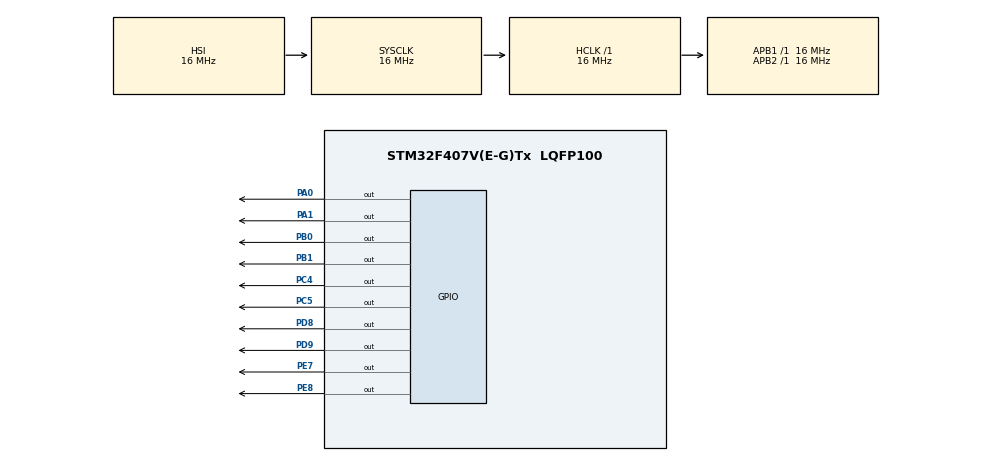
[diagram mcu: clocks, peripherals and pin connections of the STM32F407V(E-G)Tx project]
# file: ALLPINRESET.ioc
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Mcu.Family=STM32F4
Mcu.Name=STM32F407V(E-G)Tx
Mcu.Package=LQFP100
NVIC.PriorityGroup=NVIC_PRIORITYGROUP_4
PA0-WKUP.Signal=GPIO_Output
PA1.Signal=GPIO_Output
PB0.Signal=GPIO_Output
PB1.Signal=GPIO_Output
PC4.Signal=GPIO_Output
PC5.Signal=GPIO_Output
PD8.Signal=GPIO_Output
PD9.Signal=GPIO_Output
PE7.Signal=GPIO_Output
PE8.Signal=GPIO_Output
ProjectManager.HeapSize=0x200
ProjectManager.StackSize=0x400
ProjectManager.TargetToolchain=STM32CubeIDE
RCC.AHBFreq_Value=16000000
RCC.APB1Freq_Value=16000000
RCC.APB2Freq_Value=16000000
RCC.CortexFreq_Value=16000000
RCC.HSE_VALUE=25000000
RCC.HSI_VALUE=16000000
RCC.LSE_VALUE=32768
RCC.SYSCLKFreq_VALUE=16000000
RCC.VCOOutputFreq_Value=192000000
board=custom

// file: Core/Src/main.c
/* USER CODE BEGIN Header */
/**
  ******************************************************************************
  * @file           : main.c
  * @brief          : Main program body
  ******************************************************************************
  * @attention
  *
  * Copyright (c) 2023 STMicroelectronics.
  * All rights reserved.
  *
  * This software is licensed under terms that can be found in the LICENSE file
  * in the root directory of this software component.
  * If no LICENSE file comes with this software, it is provided AS-IS.
  *
  ******************************************************************************
  */
/* USER CODE END Header */
#include "main.h"

void SystemClock_Config(void);
static void MX_GPIO_Init(void);

int main(void)
{

  /* MCU Configuration--------------------------------------------------------*/

  /* Reset of all peripherals, Initializes the Flash interface and the Systick. */
  HAL_Init();

  /* Configure the system clock */
  SystemClock_Config();

  /* Initialize all configured peripherals */
  MX_GPIO_Init();

  /* Infinite loop */
  while (1)
  {

    /* USER CODE BEGIN 3 */
	  HAL_GPIO_WritePin(GPIOA, GPIO_PIN_All, 1);
	  HAL_GPIO_WritePin(GPIOB, GPIO_PIN_All, 1);
	  HAL_GPIO_WritePin(GPIOC, GPIO_PIN_All, 1);
	  HAL_GPIO_WritePin(GPIOD, GPIO_PIN_All, 1);
	  HAL_GPIO_WritePin(GPIOE, GPIO_PIN_All, 1);

	  HAL_GPIO_WritePin(GPIOA, GPIO_PIN_0, 1);
	  HAL_GPIO_WritePin(GPIOA, GPIO_PIN_1, 1);
	  HAL_GPIO_WritePin(GPIOB, GPIO_PIN_0, 1);
	  HAL_GPIO_WritePin(GPIOB, GPIO_PIN_1, 1);
	  HAL_GPIO_WritePin(GPIOC, GPIO_PIN_4, 1);
	  HAL_GPIO_WritePin(GPIOC, GPIO_PIN_5, 1);
	  HAL_GPIO_WritePin(GPIOD, GPIO_PIN_8, 1);
	  HAL_GPIO_WritePin(GPIOD, GPIO_PIN_9, 1);
	  HAL_GPIO_WritePin(GPIOE, GPIO_PIN_7, 1);
	  HAL_GPIO_WritePin(GPIOE, GPIO_PIN_8, 1);
  }
  /* USER CODE END 3 */
}

void SystemClock_Config(void)
{
  RCC_OscInitTypeDef RCC_OscInitStruct = {0};
  RCC_ClkInitTypeDef RCC_ClkInitStruct = {0};

  /** Configure the main internal regulator output voltage
  */
  __HAL_RCC_PWR_CLK_ENABLE();
  __HAL_PWR_VOLTAGESCALING_CONFIG(PWR_REGULATOR_VOLTAGE_SCALE1);
  /** Initializes the RCC Oscillators according to the specified parameters
  * in the RCC_OscInitTypeDef structure.
  */
  RCC_OscInitStruct.OscillatorType = RCC_OSCILLATORTYPE_HSI;
  RCC_OscInitStruct.HSIState = RCC_HSI_ON;
  RCC_OscInitStruct.HSICalibrationValue = RCC_HSICALIBRATION_DEFAULT;
  RCC_OscInitStruct.PLL.PLLState = RCC_PLL_NONE;
  if (HAL_RCC_OscConfig(&RCC_OscInitStruct) != HAL_OK)
  {
    Error_Handler();
  }
  /** Initializes the CPU, AHB and APB buses clocks
  */
  RCC_ClkInitStruct.ClockType = RCC_CLOCKTYPE_HCLK|RCC_CLOCKTYPE_SYSCLK
                              |RCC_CLOCKTYPE_PCLK1|RCC_CLOCKTYPE_PCLK2;
  RCC_ClkInitStruct.SYSCLKSource = RCC_SYSCLKSOURCE_HSI;
  RCC_ClkInitStruct.AHBCLKDivider = RCC_SYSCLK_DIV1;
  RCC_ClkInitStruct.APB1CLKDivider = RCC_HCLK_DIV1;
  RCC_ClkInitStruct.APB2CLKDivider = RCC_HCLK_DIV1;

  if (HAL_RCC_ClockConfig(&RCC_ClkInitStruct, FLASH_LATENCY_0) != HAL_OK)
  {
    Error_Handler();
  }
}

static void MX_GPIO_Init(void)
{
  GPIO_InitTypeDef GPIO_InitStruct = {0};

  /* GPIO Ports Clock Enable */
  __HAL_RCC_GPIOA_CLK_ENABLE();
  __HAL_RCC_GPIOC_CLK_ENABLE();
  __HAL_RCC_GPIOB_CLK_ENABLE();
  __HAL_RCC_GPIOE_CLK_ENABLE();
  __HAL_RCC_GPIOD_CLK_ENABLE();

  /*Configure GPIO pin Output Level */
  HAL_GPIO_WritePin(GPIOA, GPIO_PIN_0|GPIO_PIN_1, GPIO_PIN_RESET);

  /*Configure GPIO pin Output Level */
  HAL_GPIO_WritePin(GPIOC, GPIO_PIN_4|GPIO_PIN_5, GPIO_PIN_RESET);

  /*Configure GPIO pin Output Level */
  HAL_GPIO_WritePin(GPIOB, GPIO_PIN_0|GPIO_PIN_1, GPIO_PIN_RESET);

  /*Configure GPIO pin Output Level */
  HAL_GPIO_WritePin(GPIOE, GPIO_PIN_7|GPIO_PIN_8, GPIO_PIN_RESET);

  /*Configure GPIO pin Output Level */
  HAL_GPIO_WritePin(GPIOD, GPIO_PIN_8|GPIO_PIN_9, GPIO_PIN_RESET);

  /*Configure GPIO pins : PA0 PA1 */
  GPIO_InitStruct.Pin = GPIO_PIN_0|GPIO_PIN_1;
  GPIO_InitStruct.Mode = GPIO_MODE_OUTPUT_PP;
  GPIO_InitStruct.Pull = GPIO_NOPULL;
  GPIO_InitStruct.Speed = GPIO_SPEED_FREQ_LOW;
  HAL_GPIO_Init(GPIOA, &GPIO_InitStruct);

  /*Configure GPIO pins : PC4 PC5 */
  GPIO_InitStruct.Pin = GPIO_PIN_4|GPIO_PIN_5;
  GPIO_InitStruct.Mode = GPIO_MODE_OUTPUT_PP;
  GPIO_InitStruct.Pull = GPIO_NOPULL;
  GPIO_InitStruct.Speed = GPIO_SPEED_FREQ_LOW;
  HAL_GPIO_Init(GPIOC, &GPIO_InitStruct);

  /*Configure GPIO pins : PB0 PB1 */
  GPIO_InitStruct.Pin = GPIO_PIN_0|GPIO_PIN_1;
  GPIO_InitStruct.Mode = GPIO_MODE_OUTPUT_PP;
  GPIO_InitStruct.Pull = GPIO_NOPULL;
  GPIO_InitStruct.Speed = GPIO_SPEED_FREQ_LOW;
  HAL_GPIO_Init(GPIOB, &GPIO_InitStruct);

  /*Configure GPIO pins : PE7 PE8 */
  GPIO_InitStruct.Pin = GPIO_PIN_7|GPIO_PIN_8;
  GPIO_InitStruct.Mode = GPIO_MODE_OUTPUT_PP;
  GPIO_InitStruct.Pull = GPIO_NOPULL;
  GPIO_InitStruct.Speed = GPIO_SPEED_FREQ_LOW;
  HAL_GPIO_Init(GPIOE, &GPIO_InitStruct);

  /*Configure GPIO pins : PD8 PD9 */
  GPIO_InitStruct.Pin = GPIO_PIN_8|GPIO_PIN_9;
  GPIO_InitStruct.Mode = GPIO_MODE_OUTPUT_PP;
  GPIO_InitStruct.Pull = GPIO_NOPULL;
  GPIO_InitStruct.Speed = GPIO_SPEED_FREQ_LOW;
  HAL_GPIO_Init(GPIOD, &GPIO_InitStruct);

}

void Error_Handler(void)
{
  __disable_irq();
  while (1)
  {
  }
}
